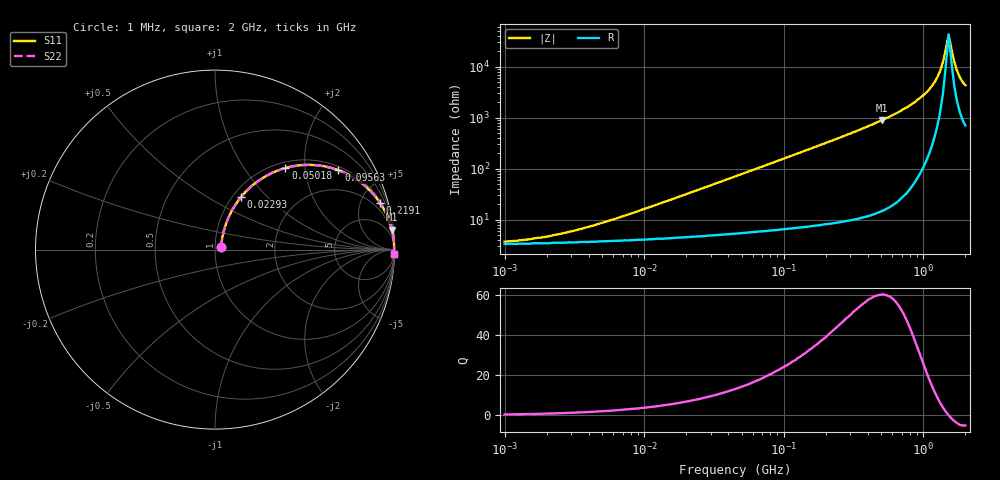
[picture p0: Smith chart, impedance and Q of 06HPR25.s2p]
# MHz S MA R 50
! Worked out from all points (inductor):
!   166 points, 1 MHz to 2 GHz, reference 50 ohm
!   read as one part in series: L = 250 nH near 7.591 MHz
!   highest Q = 60.3 at 502.2 MHz (marker M1), where L = 281 nH
!   self-resonance near 1.517 GHz
!   S11 on the Smith chart (normalised r, x): 1 MHz: 1.07, +0.03; 22.93 MHz: 1.09, +0.72; 50.18 MHz: 1.11, +1.58; 95.64 MHz: 1.13, +3.02; 219.1 MHz: 1.16, +7.03; 2 GHz: 15, -84
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1  0.036 24.3  0.967 -0.9  0.967 -0.9  0.036 24.3
1.82  0.043 37.9  0.966 -1.6  0.966 -1.6  0.043 37.9
3.632  0.065 54.1  0.963 -3.1  0.963 -3.1  0.065 54.1
13.193  0.199 67.1  0.941 -11.2  0.941 -11.2  0.199 67.1
22.931  0.328 63.6  0.903 -19.0  0.903 -19.0  0.328 63.6
45.763  0.565 51.4  0.784 -34.3  0.784 -34.3  0.565 51.4
50.18  0.6 49.2  0.759 -36.8  0.759 -36.8  0.6 49.2
95.635  0.818 32.8  0.542 -54.8  0.542 -54.8  0.818 32.8
166.224  0.927 20.5  0.35 -67.8  0.35 -67.8  0.927 20.5
219.144  0.956 15.8  0.272 -72.9  0.272 -72.9  0.956 15.8
502.161  0.992 6.4  0.112 -82.6  0.112 -82.6  0.992 6.4
576.582  0.994 5.4  0.094 -83.6  0.094 -83.6  0.994 5.4
872.806  0.997 2.8  0.049 -85.7  0.049 -85.7  0.997 2.8
1150.681  0.998 1.3  0.024 -84.8  0.024 -84.8  0.998 1.3
1261.733  0.998 0.9  0.016 -82.6  0.016 -82.6  0.998 0.9
1321.216  0.998 0.7  0.012 -80.1  0.012 -80.1  0.998 0.7
1383.503  0.998 0.4  0.008086 -75.0  0.008086 -75.0  0.998 0.4
1517.024  0.998 0.0  0.002343 -3.2  0.002343 -3.2  0.998 0.0
1663.432  0.997 -0.4  0.008034 69.7  0.008034 69.7  0.997 -0.4
1741.852  0.997 -0.7  0.012 74.8  0.012 74.8  0.997 -0.7
1909.958  0.996 -1.1  0.02 78.6  0.02 78.6  0.996 -1.1
2000  0.996 -1.3  0.023 79.3  0.023 79.3  0.996 -1.3
